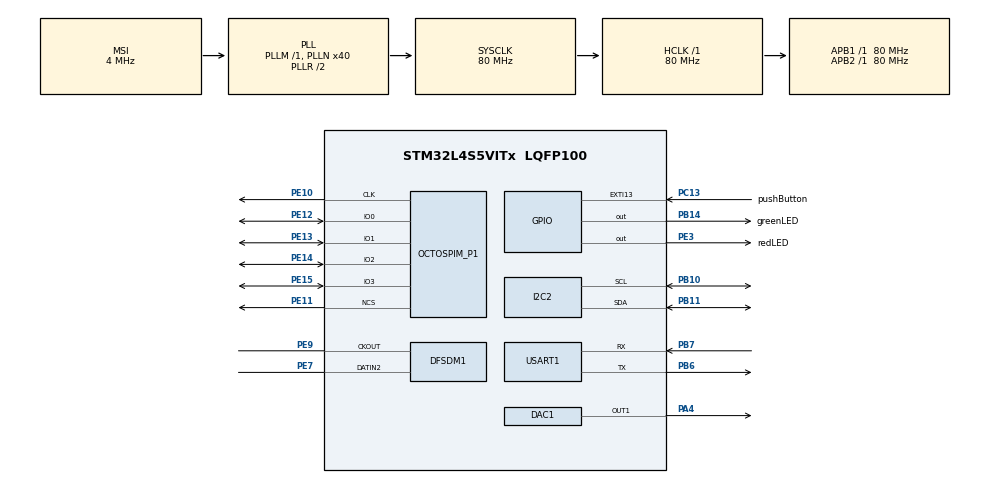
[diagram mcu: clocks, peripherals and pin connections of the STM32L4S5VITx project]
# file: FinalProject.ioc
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DAC1.DAC_Trigger-DAC_OUT1=DAC_TRIGGER_T2_TRGO
DFSDM1.Divider=34
DFSDM1.DmaMode_reg_FIL0=ENABLE
DFSDM1.FastMode_reg_FIL0=ENABLE
DFSDM1.Filter_regChannel_FIL0=DFSDM_CHANNEL_2
DFSDM1.Fosr_FIL0=118
DFSDM1.SincOrder_FIL0=DFSDM_FILTER_SINC3_ORDER
Dma.DAC1_CH1.0.Direction=DMA_MEMORY_TO_PERIPH
Dma.DAC1_CH1.0.EventEnable=DISABLE
Dma.DAC1_CH1.0.Instance=DMA1_Channel1
Dma.DAC1_CH1.0.MemDataAlignment=DMA_MDATAALIGN_WORD
Dma.DAC1_CH1.0.MemInc=DMA_MINC_ENABLE
Dma.DAC1_CH1.0.Mode=DMA_NORMAL
Dma.DAC1_CH1.0.PeriphDataAlignment=DMA_PDATAALIGN_WORD
Dma.DAC1_CH1.0.PeriphInc=DMA_PINC_DISABLE
Dma.DAC1_CH1.0.Polarity=HAL_DMAMUX_REQUEST_GEN_RISING
Dma.DAC1_CH1.0.Priority=DMA_PRIORITY_LOW
Dma.DAC1_CH1.0.RequestNumber=1
Dma.DAC1_CH1.0.SignalID=NONE
Dma.DAC1_CH1.0.SyncEnable=DISABLE
Dma.DAC1_CH1.0.SyncPolarity=HAL_DMAMUX_SYNC_NO_EVENT
Dma.DAC1_CH1.0.SyncRequestNumber=1
Dma.DAC1_CH1.0.SyncSignalID=NONE
Dma.DFSDM1_FLT0.1.Direction=DMA_PERIPH_TO_MEMORY
Dma.DFSDM1_FLT0.1.EventEnable=DISABLE
Dma.DFSDM1_FLT0.1.Instance=DMA1_Channel2
Dma.DFSDM1_FLT0.1.MemDataAlignment=DMA_MDATAALIGN_WORD
Dma.DFSDM1_FLT0.1.MemInc=DMA_MINC_ENABLE
Dma.DFSDM1_FLT0.1.Mode=DMA_NORMAL
Dma.DFSDM1_FLT0.1.PeriphDataAlignment=DMA_PDATAALIGN_WORD
Dma.DFSDM1_FLT0.1.PeriphInc=DMA_PINC_DISABLE
Dma.DFSDM1_FLT0.1.Polarity=HAL_DMAMUX_REQUEST_GEN_RISING
Dma.DFSDM1_FLT0.1.Priority=DMA_PRIORITY_LOW
Dma.DFSDM1_FLT0.1.RequestNumber=1
Dma.DFSDM1_FLT0.1.SignalID=NONE
Dma.DFSDM1_FLT0.1.SyncEnable=DISABLE
Dma.DFSDM1_FLT0.1.SyncPolarity=HAL_DMAMUX_SYNC_NO_EVENT
Dma.DFSDM1_FLT0.1.SyncRequestNumber=1
Dma.DFSDM1_FLT0.1.SyncSignalID=NONE
Dma.Request0=DAC1_CH1
Dma.Request1=DFSDM1_FLT0
FREERTOS.Tasks01=GetSpeedAndDir,0,128,StartGetSpeedAndDir,Default,NULL,Dynamic,NULL,NULL;AcceleroSensor,-3,128,StartAcceleroSensor,Default,NULL,Dynamic,NULL,NULL;CounterDirGame,-3,128,StartCounterDirGame,Default,NULL,Dynamic,NULL,NULL
I2C2.Timing=0x10909CEC
Mcu.Family=STM32L4
Mcu.Name=STM32L4S5VITx
Mcu.Package=LQFP100
NVIC.DMA1_Channel1_IRQn=true\:5\:0\:false\:false\:true\:true\:false\:true\:true
NVIC.DMA1_Channel2_IRQn=true\:5\:0\:false\:false\:true\:true\:false\:true\:true
NVIC.EXTI15_10_IRQn=true\:5\:0\:false\:false\:true\:true\:true\:true\:true
NVIC.PriorityGroup=NVIC_PRIORITYGROUP_4
NVIC.TIM2_IRQn=true\:5\:0\:false\:false\:true\:true\:true\:true\:true
NVIC.USART1_IRQn=true\:5\:0\:false\:false\:true\:true\:true\:true\:true
OCTOSPI1.MemoryType=HAL_OSPI_MEMTYPE_MACRONIX
PA13\ (JTMS/SWDIO).Signal=SYS_JTMS-SWDIO
PA4.Signal=COMP_DAC11_group
PB10.Mode=I2C
PB10.Signal=I2C2_SCL
PB11.Mode=I2C
PB11.Signal=I2C2_SDA
PB14.GPIO_Label=greenLED
PB14.Signal=GPIO_Output
PB3\ (JTDO/TRACESWO).Signal=SYS_JTDO-SWO
PB6.Mode=Asynchronous
PB6.Signal=USART1_TX
PB7.Mode=Asynchronous
PB7.Signal=USART1_RX
PC13.GPIO_Label=pushButton
PC13.Signal=GPXTI13
PE10.Mode=O1_P1_CLK
PE10.Signal=OCTOSPIM_P1_CLK
PE11.Mode=OCTOSPI1_Port1_NCS
PE11.Signal=OCTOSPIM_P1_NCS
PE12.Mode=OCTOSPI1_IOL_Port1L
PE12.Signal=OCTOSPIM_P1_IO0
PE13.Mode=OCTOSPI1_IOL_Port1L
PE13.Signal=OCTOSPIM_P1_IO1
PE14.Mode=OCTOSPI1_IOL_Port1L
PE14.Signal=OCTOSPIM_P1_IO2
PE15.Mode=OCTOSPI1_IOL_Port1L
PE15.Signal=OCTOSPIM_P1_IO3
PE3.GPIO_Label=redLED
PE3.Signal=GPIO_Output
PE7.Signal=S_DATAIN2DFSDM1
PE9.Signal=S_CKOUTDFSDM1
ProjectManager.HeapSize=0x200
ProjectManager.StackSize=0x400
ProjectManager.TargetToolchain=STM32CubeIDE
RCC.ADCFreq_Value=48000000
RCC.AHBFreq_Value=80000000
RCC.APB1Freq_Value=80000000
RCC.APB1TimFreq_Value=80000000
RCC.APB2Freq_Value=80000000
RCC.APB2TimFreq_Value=80000000
RCC.CortexFreq_Value=80000000
RCC.HCLKFreq_Value=80000000
RCC.HSE_VALUE=8000000
RCC.HSI48_VALUE=48000000
RCC.HSI_VALUE=16000000
RCC.LSE_VALUE=32768
RCC.MSI_VALUE=4000000
RCC.PLLN=40
RCC.PLLSAI1N=24
RCC.SYSCLKFreq_VALUE=80000000
RCC.SYSCLKSource=RCC_SYSCLKSOURCE_PLLCLK
RCC.USBFreq_Value=48000000
RCC.VCOOutputFreq_Value=160000000
SH.COMP_DAC11_group.0=DAC1_OUT1,DAC_OUT1
SH.S_CKOUTDFSDM1.0=DFSDM1_CKOUT,PDM_SPI_input_from_ch2_and_internal_clock
SH.S_CKOUTDFSDM1.1=DFSDM1_CKOUT,CKOUT
SH.S_DATAIN2DFSDM1.0=DFSDM1_DATIN2,PDM_SPI_input_from_ch2_and_internal_clock
TIM2.AutoReloadPreload=TIM_AUTORELOAD_PRELOAD_ENABLE
TIM2.Period=4000
TIM2.Prescaler=0
TIM2.TIM_MasterOutputTrigger=TIM_TRGO_UPDATE
USART1.VirtualMode-Asynchronous=VM_ASYNC
VP_FREERTOS_VS_CMSIS_V1.Mode=CMSIS_V1
VP_OCTOSPI1_VS_quad.Mode=quad_mode
VP_TIM2_VS_ClockSourceINT.Mode=Internal
board=B-L4S5I-IOT01A

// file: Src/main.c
/* USER CODE BEGIN Header */
/**
  ******************************************************************************
  * @file           : main.c
  * @brief          : Main program body
  ******************************************************************************
  * @attention
  *
  * Copyright (c) 2022 STMicroelectronics.
  * All rights reserved.
  *
  * This software is licensed under terms that can be found in the LICENSE file
  * in the root directory of this software component.
  * If no LICENSE file comes with this software, it is provided AS-IS.
  *
  ******************************************************************************
  */
/* USER CODE END Header */
#include "main.h"
#include "cmsis_os.h"

/* USER CODE BEGIN Includes */
#include "stm32l4s5i_iot01_qspi.h"
#include "stm32l4s5i_iot01_accelero.h"
#include "arm_math.h" //complex header file that works differently for different Cortex processor
#include <stdio.h>
#include <string.h>
/* USER CODE END Includes */

DAC_HandleTypeDef hdac1;
DMA_HandleTypeDef hdma_dac1_ch1;

DFSDM_Filter_HandleTypeDef hdfsdm1_filter0;
DFSDM_Channel_HandleTypeDef hdfsdm1_channel2;
DMA_HandleTypeDef hdma_dfsdm1_flt0;

I2C_HandleTypeDef hi2c2;

OSPI_HandleTypeDef hospi1;

TIM_HandleTypeDef htim2;

UART_HandleTypeDef huart1;

osThreadId GetSpeedAndDirHandle;
osThreadId AcceleroSensorHandle;
osThreadId CounterDirGameHandle;
/* USER CODE BEGIN PV */
// Sampling rate = 20 kHz, duration = 2s, -> 40 000 samples per audio
// We have 10 audios, int = 4 bytes ->
#define SEQUENCE_LENGTH 40000
#define NUMBER_OF_DIRECTION 4
#define NUMBER_OF_DIGITS 5
#define CHOICE 2
#define MOVEMENT_THRESHOLD 80
#define ITM_Port32(n) (*((volatile unsigned long *) (0xE0000000+4*n)))

int32_t SEQUENCE[SEQUENCE_LENGTH];
int32_t SEQUENCE_COPY[SEQUENCE_LENGTH];
int32_t addressDigits[10] = {0x000000, 0x030000, 0x060000, 0x090000, 0x0C0000, 0x0F0000, 0x120000, 0x150000, 0x180000, 0x1B0000};

// CAREFUL: Record in following order horizontal slow, horizontal fast, vertical slow, vertical fast
int32_t addressDirections[4] = {0x1E0000, 0x210000, 0x240000, 0x270000};
uint32_t pushButtonCounter = 0;

//Selecting Game Modes
uint8_t recorder;
uint8_t player;
uint8_t directionGame;
uint8_t digitGame;
uint8_t actualRecorder =0;

uint32_t addr;
uint8_t seqDigits[NUMBER_OF_DIGITS] = {4,1,4,7,9};
uint8_t seqDirections[NUMBER_OF_DIRECTION] = {'X', 'Y', 'y', 'x'};
uint32_t pressed = 0;
uint8_t addressDigitIndex = 0;
uint8_t addressDirectionIndex = 0;
// LEONIDAS VARIABLES
//DIGITS
uint8_t res;
uint8_t *seq;
uint8_t digits[] = "41479";
uint8_t digit_answer[NUMBER_OF_DIGITS +1];

//DIRECTIONS
uint8_t direction_answer[6];
//uint8_t seqDirections[]= "XxYy";

//UART
uint8_t start_yn[2];//player 1 or 2 answer
uint8_t recorded_digits[6];//user types the desired numbers here
uint8_t game_mode[2];//game mode 1 or 0 answer
uint8_t recorder_game_mode[2];//game mode 1 or 0 answer

uint8_t digit_reply[6];
uint8_t digit_ready[2];
uint8_t int_converter[6];

uint8_t direction_reply[6];
uint8_t digit_ready[2];

uint8_t user_Digit_answer[6];
uint8_t user_Direction_answer[6];

// Accelerometer
int16_t accelerometer[3];
int16_t acc_x1; //initial acc. x value
int16_t acc_y1;
float32_t maxX2;
float32_t maxY2;
float32_t  arrayX[2000];
float32_t arrayY[2000];
int16_t arrayIndex = 0;
uint32_t maxIndexX;
uint32_t maxIndexY;

char directionResult[NUMBER_OF_DIRECTION];
uint32_t counterRestart;
int8_t resultIndex = 0;
int8_t counterInitial = 0;
int8_t startedMoving = 0;

///MESSAGES
uint8_t startMessage[] = "Let's Test Your Memory! \r\n"
					   "Have you played before?\r\n"
					   "1: Yes \r\n"
					   "0: No \r\n";

uint8_t playerMessage[] = "Then, proceed to choose the game mode! \r\n";

uint8_t chooseModeMessage[] = "Choose The Game Mode: \r\n"
							"0: Memory Digits \r\n"
							"1: Memory Directions \r\n";

uint8_t waitForSpeakerDigitMessage[] = "Starting Memory Digits..\r\nPlaying numbers..wait until completion!\r\n";
uint8_t waitForSpeakerDirectionMessage[] = "Starting Memory Directions..\r\nPlaying seqDirections..wait until completion!\r\n";

uint8_t winMessage[] = "You got it right! \r\n";

uint8_t lossMessage[] = "You got it wrong! \r\n"
		               "Game over!\r\n"
					   "The answer was:\r\n";

uint8_t startTypingMessage[] = "Enter what you remember: \r\n";

uint8_t startPlayer2Message[] = "Player 2 \r\n";

uint8_t recorderMessage[] = "Begin typing the 5 digits you want player 2 to memorize \r\n";
uint8_t direcRecorderMessage[] = "Begin typing the 4 coordinates you want player 2 to memorize \r\n";

uint8_t clearCommand[] =  "\033[1J";

uint8_t here[] =  "HERE_____\r\n";
//END MESSAGES
/* USER CODE END PV */

void SystemClock_Config(void);
static void MX_GPIO_Init(void);
static void MX_DMA_Init(void);
static void MX_DAC1_Init(void);
static void MX_TIM2_Init(void);
static void MX_DFSDM1_Init(void);
static void MX_OCTOSPI1_Init(void);
static void MX_I2C2_Init(void);
static void MX_USART1_UART_Init(void);
void StartGetSpeedAndDir(void const * argument);
void StartAcceleroSensor(void const * argument);
void StartCounterDirGame(void const * argument);

/* USER CODE BEGIN 0 */
void get_ACC_XY_InitialPosition();
/* USER CODE END 0 */

int main(void)
{

  /* MCU Configuration--------------------------------------------------------*/

  /* Reset of all peripherals, Initializes the Flash interface and the Systick. */
  HAL_Init();

  /* Configure the system clock */
  SystemClock_Config();

  /* Initialize all configured peripherals */
  MX_GPIO_Init();
  MX_DMA_Init();
  MX_DAC1_Init();
  MX_TIM2_Init();
  MX_DFSDM1_Init();
  MX_OCTOSPI1_Init();
  MX_I2C2_Init();
  MX_USART1_UART_Init();
  /* USER CODE BEGIN 2 */
  BSP_ACCELERO_Init();
  BSP_QSPI_Init();
  HAL_TIM_Base_Start_IT(&htim2);

  HAL_UART_Transmit(&huart1, clearCommand, sizeof(clearCommand), 100);//clear console

  HAL_UART_Transmit(&huart1, startMessage, sizeof(startMessage), 100);// sent start message

  HAL_UART_Receive_IT(&huart1, start_yn, CHOICE);// get user 1 or 0

  if(actualRecorder && digitGame) { // 3 blocks per sound (digits OR seqDirections/speed)
	  //10 digits * 3 = 30 blocks to erase
	  //2 seqDirections (vertical/horizontal) + 2 speeds (fast/slow) = 4 *3 = 12
	  addr = 0x000000;
	  for(int i = 1; i <= 30; i++) {
		  if(BSP_QSPI_Erase_Block((uint32_t) addr) != QSPI_OK)
		  	Error_Handler();
		  addr+= 0x010000;
	  }
  } else if( actualRecorder && directionGame) {
	  addr = 0x1E0000;
	  for(int i = 1; i <= 12; i++) {
		  if(BSP_QSPI_Erase_Block((uint32_t) addr) != QSPI_OK)
		  	Error_Handler();
		  addr += 0x010000;
	  }
  }

  /* USER CODE END 2 */

  /* Create the thread(s) */
  /* definition and creation of GetSpeedAndDir */
  osThreadDef(GetSpeedAndDir, StartGetSpeedAndDir, osPriorityNormal, 0, 128);
  GetSpeedAndDirHandle = osThreadCreate(osThread(GetSpeedAndDir), NULL);

  /* definition and creation of AcceleroSensor */
  osThreadDef(AcceleroSensor, StartAcceleroSensor, osPriorityIdle, 0, 128);
  AcceleroSensorHandle = osThreadCreate(osThread(AcceleroSensor), NULL);

  /* definition and creation of CounterDirGame */
  osThreadDef(CounterDirGame, StartCounterDirGame, osPriorityIdle, 0, 128);
  CounterDirGameHandle = osThreadCreate(osThread(CounterDirGame), NULL);

  /* Start scheduler */
  osKernelStart();

  /* We should never get here as control is now taken by the scheduler */
  /* Infinite loop */
  while (1)
  {

  }
}

void SystemClock_Config(void)
{
  RCC_OscInitTypeDef RCC_OscInitStruct = {0};
  RCC_ClkInitTypeDef RCC_ClkInitStruct = {0};

  /** Configure the main internal regulator output voltage
  */
  if (HAL_PWREx_ControlVoltageScaling(PWR_REGULATOR_VOLTAGE_SCALE1) != HAL_OK)
  {
    Error_Handler();
  }

  /** Initializes the RCC Oscillators according to the specified parameters
  * in the RCC_OscInitTypeDef structure.
  */
  RCC_OscInitStruct.OscillatorType = RCC_OSCILLATORTYPE_MSI;
  RCC_OscInitStruct.MSIState = RCC_MSI_ON;
  RCC_OscInitStruct.MSICalibrationValue = 0;
  RCC_OscInitStruct.MSIClockRange = RCC_MSIRANGE_6;
  RCC_OscInitStruct.PLL.PLLState = RCC_PLL_ON;
  RCC_OscInitStruct.PLL.PLLSource = RCC_PLLSOURCE_MSI;
  RCC_OscInitStruct.PLL.PLLM = 1;
  RCC_OscInitStruct.PLL.PLLN = 40;
  RCC_OscInitStruct.PLL.PLLP = RCC_PLLP_DIV2;
  RCC_OscInitStruct.PLL.PLLQ = RCC_PLLQ_DIV2;
  RCC_OscInitStruct.PLL.PLLR = RCC_PLLR_DIV2;
  if (HAL_RCC_OscConfig(&RCC_OscInitStruct) != HAL_OK)
  {
    Error_Handler();
  }

  /** Initializes the CPU, AHB and APB buses clocks
  */
  RCC_ClkInitStruct.ClockType = RCC_CLOCKTYPE_HCLK|RCC_CLOCKTYPE_SYSCLK
                              |RCC_CLOCKTYPE_PCLK1|RCC_CLOCKTYPE_PCLK2;
  RCC_ClkInitStruct.SYSCLKSource = RCC_SYSCLKSOURCE_PLLCLK;
  RCC_ClkInitStruct.AHBCLKDivider = RCC_SYSCLK_DIV1;
  RCC_ClkInitStruct.APB1CLKDivider = RCC_HCLK_DIV1;
  RCC_ClkInitStruct.APB2CLKDivider = RCC_HCLK_DIV1;

  if (HAL_RCC_ClockConfig(&RCC_ClkInitStruct, FLASH_LATENCY_3) != HAL_OK)
  {
    Error_Handler();
  }
}

static void MX_DAC1_Init(void)
{

  DAC_ChannelConfTypeDef sConfig = {0};

  /** DAC Initialization
  */
  hdac1.Instance = DAC1;
  if (HAL_DAC_Init(&hdac1) != HAL_OK)
  {
    Error_Handler();
  }

  /** DAC channel OUT1 config
  */
  sConfig.DAC_SampleAndHold = DAC_SAMPLEANDHOLD_DISABLE;
  sConfig.DAC_Trigger = DAC_TRIGGER_T2_TRGO;
  sConfig.DAC_HighFrequency = DAC_HIGH_FREQUENCY_INTERFACE_MODE_ABOVE_80MHZ;
  sConfig.DAC_OutputBuffer = DAC_OUTPUTBUFFER_ENABLE;
  sConfig.DAC_ConnectOnChipPeripheral = DAC_CHIPCONNECT_DISABLE;
  sConfig.DAC_UserTrimming = DAC_TRIMMING_FACTORY;
  if (HAL_DAC_ConfigChannel(&hdac1, &sConfig, DAC_CHANNEL_1) != HAL_OK)
  {
    Error_Handler();
  }

}

static void MX_DFSDM1_Init(void)
{

  hdfsdm1_filter0.Instance = DFSDM1_Filter0;
  hdfsdm1_filter0.Init.RegularParam.Trigger = DFSDM_FILTER_SW_TRIGGER;
  hdfsdm1_filter0.Init.RegularParam.FastMode = ENABLE;
  hdfsdm1_filter0.Init.RegularParam.DmaMode = ENABLE;
  hdfsdm1_filter0.Init.FilterParam.SincOrder = DFSDM_FILTER_SINC3_ORDER;
  hdfsdm1_filter0.Init.FilterParam.Oversampling = 118;
  hdfsdm1_filter0.Init.FilterParam.IntOversampling = 1;
  if (HAL_DFSDM_FilterInit(&hdfsdm1_filter0) != HAL_OK)
  {
    Error_Handler();
  }
  hdfsdm1_channel2.Instance = DFSDM1_Channel2;
  hdfsdm1_channel2.Init.OutputClock.Activation = ENABLE;
  hdfsdm1_channel2.Init.OutputClock.Selection = DFSDM_CHANNEL_OUTPUT_CLOCK_SYSTEM;
  hdfsdm1_channel2.Init.OutputClock.Divider = 34;
  hdfsdm1_channel2.Init.Input.Multiplexer = DFSDM_CHANNEL_EXTERNAL_INPUTS;
  hdfsdm1_channel2.Init.Input.DataPacking = DFSDM_CHANNEL_STANDARD_MODE;
  hdfsdm1_channel2.Init.Input.Pins = DFSDM_CHANNEL_SAME_CHANNEL_PINS;
  hdfsdm1_channel2.Init.SerialInterface.Type = DFSDM_CHANNEL_SPI_RISING;
  hdfsdm1_channel2.Init.SerialInterface.SpiClock = DFSDM_CHANNEL_SPI_CLOCK_INTERNAL;
  hdfsdm1_channel2.Init.Awd.FilterOrder = DFSDM_CHANNEL_FASTSINC_ORDER;
  hdfsdm1_channel2.Init.Awd.Oversampling = 1;
  hdfsdm1_channel2.Init.Offset = 0;
  hdfsdm1_channel2.Init.RightBitShift = 0x00;
  if (HAL_DFSDM_ChannelInit(&hdfsdm1_channel2) != HAL_OK)
  {
    Error_Handler();
  }
  if (HAL_DFSDM_FilterConfigRegChannel(&hdfsdm1_filter0, DFSDM_CHANNEL_2, DFSDM_CONTINUOUS_CONV_ON) != HAL_OK)
  {
    Error_Handler();
  }

}

static void MX_I2C2_Init(void)
{

  hi2c2.Instance = I2C2;
  hi2c2.Init.Timing = 0x10909CEC;
  hi2c2.Init.OwnAddress1 = 0;
  hi2c2.Init.AddressingMode = I2C_ADDRESSINGMODE_7BIT;
  hi2c2.Init.DualAddressMode = I2C_DUALADDRESS_DISABLE;
  hi2c2.Init.OwnAddress2 = 0;
  hi2c2.Init.OwnAddress2Masks = I2C_OA2_NOMASK;
  hi2c2.Init.GeneralCallMode = I2C_GENERALCALL_DISABLE;
  hi2c2.Init.NoStretchMode = I2C_NOSTRETCH_DISABLE;
  if (HAL_I2C_Init(&hi2c2) != HAL_OK)
  {
    Error_Handler();
  }

  /** Configure Analogue filter
  */
  if (HAL_I2CEx_ConfigAnalogFilter(&hi2c2, I2C_ANALOGFILTER_ENABLE) != HAL_OK)
  {
    Error_Handler();
  }

  /** Configure Digital filter
  */
  if (HAL_I2CEx_ConfigDigitalFilter(&hi2c2, 0) != HAL_OK)
  {
    Error_Handler();
  }

}

static void MX_OCTOSPI1_Init(void)
{

  OSPIM_CfgTypeDef OSPIM_Cfg_Struct = {0};

  /* OCTOSPI1 parameter configuration*/
  hospi1.Instance = OCTOSPI1;
  hospi1.Init.FifoThreshold = 1;
  hospi1.Init.DualQuad = HAL_OSPI_DUALQUAD_DISABLE;
  hospi1.Init.MemoryType = HAL_OSPI_MEMTYPE_MACRONIX;
  hospi1.Init.DeviceSize = 32;
  hospi1.Init.ChipSelectHighTime = 1;
  hospi1.Init.FreeRunningClock = HAL_OSPI_FREERUNCLK_DISABLE;
  hospi1.Init.ClockMode = HAL_OSPI_CLOCK_MODE_0;
  hospi1.Init.ClockPrescaler = 1;
  hospi1.Init.SampleShifting = HAL_OSPI_SAMPLE_SHIFTING_NONE;
  hospi1.Init.DelayHoldQuarterCycle = HAL_OSPI_DHQC_DISABLE;
  hospi1.Init.ChipSelectBoundary = 0;
  hospi1.Init.DelayBlockBypass = HAL_OSPI_DELAY_BLOCK_BYPASSED;
  if (HAL_OSPI_Init(&hospi1) != HAL_OK)
  {
    Error_Handler();
  }
  OSPIM_Cfg_Struct.ClkPort = 1;
  OSPIM_Cfg_Struct.NCSPort = 1;
  OSPIM_Cfg_Struct.IOLowPort = HAL_OSPIM_IOPORT_1_LOW;
  if (HAL_OSPIM_Config(&hospi1, &OSPIM_Cfg_Struct, HAL_OSPI_TIMEOUT_DEFAULT_VALUE) != HAL_OK)
  {
    Error_Handler();
  }

}

static void MX_TIM2_Init(void)
{

  TIM_ClockConfigTypeDef sClockSourceConfig = {0};
  TIM_MasterConfigTypeDef sMasterConfig = {0};

  htim2.Instance = TIM2;
  htim2.Init.Prescaler = 0;
  htim2.Init.CounterMode = TIM_COUNTERMODE_UP;
  htim2.Init.Period = 4000;
  htim2.Init.ClockDivision = TIM_CLOCKDIVISION_DIV1;
  htim2.Init.AutoReloadPreload = TIM_AUTORELOAD_PRELOAD_ENABLE;
  if (HAL_TIM_Base_Init(&htim2) != HAL_OK)
  {
    Error_Handler();
  }
  sClockSourceConfig.ClockSource = TIM_CLOCKSOURCE_INTERNAL;
  if (HAL_TIM_ConfigClockSource(&htim2, &sClockSourceConfig) != HAL_OK)
  {
    Error_Handler();
  }
  sMasterConfig.MasterOutputTrigger = TIM_TRGO_UPDATE;
  sMasterConfig.MasterSlaveMode = TIM_MASTERSLAVEMODE_DISABLE;
  if (HAL_TIMEx_MasterConfigSynchronization(&htim2, &sMasterConfig) != HAL_OK)
  {
    Error_Handler();
  }

}

static void MX_USART1_UART_Init(void)
{

  huart1.Instance = USART1;
  huart1.Init.BaudRate = 115200;
  huart1.Init.WordLength = UART_WORDLENGTH_8B;
  huart1.Init.StopBits = UART_STOPBITS_1;
  huart1.Init.Parity = UART_PARITY_NONE;
  huart1.Init.Mode = UART_MODE_TX_RX;
  huart1.Init.HwFlowCtl = UART_HWCONTROL_NONE;
  huart1.Init.OverSampling = UART_OVERSAMPLING_16;
  huart1.Init.OneBitSampling = UART_ONE_BIT_SAMPLE_DISABLE;
  huart1.Init.ClockPrescaler = UART_PRESCALER_DIV1;
  huart1.AdvancedInit.AdvFeatureInit = UART_ADVFEATURE_NO_INIT;
  if (HAL_UART_Init(&huart1) != HAL_OK)
  {
    Error_Handler();
  }
  if (HAL_UARTEx_SetTxFifoThreshold(&huart1, UART_TXFIFO_THRESHOLD_1_8) != HAL_OK)
  {
    Error_Handler();
  }
  if (HAL_UARTEx_SetRxFifoThreshold(&huart1, UART_RXFIFO_THRESHOLD_1_8) != HAL_OK)
  {
    Error_Handler();
  }
  if (HAL_UARTEx_DisableFifoMode(&huart1) != HAL_OK)
  {
    Error_Handler();
  }

}

static void MX_DMA_Init(void)
{

  /* DMA controller clock enable */
  __HAL_RCC_DMAMUX1_CLK_ENABLE();
  __HAL_RCC_DMA1_CLK_ENABLE();

  /* DMA interrupt init */
  /* DMA1_Channel1_IRQn interrupt configuration */
  HAL_NVIC_SetPriority(DMA1_Channel1_IRQn, 5, 0);
  HAL_NVIC_EnableIRQ(DMA1_Channel1_IRQn);
  /* DMA1_Channel2_IRQn interrupt configuration */
  HAL_NVIC_SetPriority(DMA1_Channel2_IRQn, 5, 0);
  HAL_NVIC_EnableIRQ(DMA1_Channel2_IRQn);

}

static void MX_GPIO_Init(void)
{
  GPIO_InitTypeDef GPIO_InitStruct = {0};

  /* GPIO Ports Clock Enable */
  __HAL_RCC_GPIOE_CLK_ENABLE();
  __HAL_RCC_GPIOC_CLK_ENABLE();
  __HAL_RCC_GPIOA_CLK_ENABLE();
  __HAL_RCC_GPIOB_CLK_ENABLE();

  /*Configure GPIO pin Output Level */
  HAL_GPIO_WritePin(redLED_GPIO_Port, redLED_Pin, GPIO_PIN_RESET);

  /*Configure GPIO pin Output Level */
  HAL_GPIO_WritePin(greenLED_GPIO_Port, greenLED_Pin, GPIO_PIN_RESET);

  /*Configure GPIO pin : redLED_Pin */
  GPIO_InitStruct.Pin = redLED_Pin;
  GPIO_InitStruct.Mode = GPIO_MODE_OUTPUT_PP;
  GPIO_InitStruct.Pull = GPIO_NOPULL;
  GPIO_InitStruct.Speed = GPIO_SPEED_FREQ_LOW;
  HAL_GPIO_Init(redLED_GPIO_Port, &GPIO_InitStruct);

  /*Configure GPIO pin : pushButton_Pin */
  GPIO_InitStruct.Pin = pushButton_Pin;
  GPIO_InitStruct.Mode = GPIO_MODE_IT_RISING;
  GPIO_InitStruct.Pull = GPIO_NOPULL;
  HAL_GPIO_Init(pushButton_GPIO_Port, &GPIO_InitStruct);

  /*Configure GPIO pin : greenLED_Pin */
  GPIO_InitStruct.Pin = greenLED_Pin;
  GPIO_InitStruct.Mode = GPIO_MODE_OUTPUT_PP;
  GPIO_InitStruct.Pull = GPIO_NOPULL;
  GPIO_InitStruct.Speed = GPIO_SPEED_FREQ_LOW;
  HAL_GPIO_Init(greenLED_GPIO_Port, &GPIO_InitStruct);

  /* EXTI interrupt init*/
  HAL_NVIC_SetPriority(EXTI15_10_IRQn, 5, 0);
  HAL_NVIC_EnableIRQ(EXTI15_10_IRQn);

}

/* USER CODE BEGIN 4 */

void HAL_GPIO_EXTI_Callback(uint16_t GPIO_Pin) {
	if(GPIO_Pin == pushButton_Pin) {
		HAL_DAC_Stop_DMA(&hdac1, DAC_CHANNEL_1);
		HAL_GPIO_TogglePin(greenLED_GPIO_Port, greenLED_Pin);

		if(actualRecorder)
			HAL_DFSDM_FilterRegularStart_DMA(&hdfsdm1_filter0, SEQUENCE, SEQUENCE_LENGTH);
	}
}

void HAL_DAC_ConvCpltCallbackCh1(DAC_HandleTypeDef *hdac) {
	if(player && digitGame) {
		HAL_Delay(10000);
		addressDigitIndex = addressDigitIndex + 1;
		if(BSP_QSPI_Read((uint8_t *) SEQUENCE_COPY, (uint32_t)  addressDigits[seqDigits[addressDigitIndex]], sizeof(SEQUENCE)) != QSPI_OK)
			Error_Handler();
		HAL_DAC_Start_DMA(&hdac1, DAC_CHANNEL_1, (uint32_t*) SEQUENCE_COPY, SEQUENCE_LENGTH, DAC_ALIGN_12B_R);

		if (addressDigitIndex == NUMBER_OF_DIGITS) {
			HAL_DAC_Stop_DMA(&hdac1, DAC_CHANNEL_1);
			HAL_UART_Transmit(&huart1, startTypingMessage, sizeof(startTypingMessage), 100);
		}
	} else if (player && directionGame) {
		addressDirectionIndex = addressDirectionIndex + 1;
		if(seqDirections[addressDirectionIndex] == 'X') {
			if(BSP_QSPI_Read((uint8_t *) SEQUENCE_COPY, (uint32_t)  addressDirections[1], sizeof(SEQUENCE)) != QSPI_OK)
				Error_Handler();
			HAL_DAC_Start_DMA(&hdac1, DAC_CHANNEL_1, (uint32_t*) SEQUENCE_COPY, SEQUENCE_LENGTH, DAC_ALIGN_12B_R);
		}else if(seqDirections[addressDirectionIndex] == 'Y') {
			if(BSP_QSPI_Read((uint8_t *) SEQUENCE_COPY, (uint32_t)  addressDirections[3], sizeof(SEQUENCE)) != QSPI_OK)
				Error_Handler();
			HAL_DAC_Start_DMA(&hdac1, DAC_CHANNEL_1, (uint32_t*) SEQUENCE_COPY, SEQUENCE_LENGTH, DAC_ALIGN_12B_R);
		}else if(seqDirections[addressDirectionIndex] == 'x') {
			if(BSP_QSPI_Read((uint8_t *) SEQUENCE_COPY, (uint32_t)  addressDirections[0], sizeof(SEQUENCE)) != QSPI_OK)
				Error_Handler();
			HAL_DAC_Start_DMA(&hdac1, DAC_CHANNEL_1, (uint32_t*) SEQUENCE_COPY, SEQUENCE_LENGTH, DAC_ALIGN_12B_R);
		}else if(seqDirections[addressDirectionIndex] == 'y') {
			if(BSP_QSPI_Read((uint8_t *) SEQUENCE_COPY, (uint32_t)  addressDirections[2], sizeof(SEQUENCE)) != QSPI_OK)
				Error_Handler();
			HAL_DAC_Start_DMA(&hdac1, DAC_CHANNEL_1, (uint32_t*) SEQUENCE_COPY, SEQUENCE_LENGTH, DAC_ALIGN_12B_R);
		}
		if (addressDirectionIndex == NUMBER_OF_DIRECTION) {
			HAL_DAC_Stop_DMA(&hdac1, DAC_CHANNEL_1);
			HAL_UART_Transmit(&huart1, startTypingMessage, sizeof(startTypingMessage), 100);
		}
	}
}

void HAL_DFSDM_FilterRegConvCpltCallback(DFSDM_Filter_HandleTypeDef *hdfsdm_filter ) {

	if(actualRecorder && digitGame) {
	HAL_DFSDM_FilterRegularStop_DMA(&hdfsdm1_filter0);
		for(uint32_t i = 0 ; i < SEQUENCE_LENGTH; i++ ){
			SEQUENCE[i] = SEQUENCE[i] >> 8; // 24 bit signed  :  −8,388,608 : 8,388,607
			if(SEQUENCE[i] < 0 ) {
				SEQUENCE[i]= SEQUENCE[i]+ (1<<24);
			}
			if( SEQUENCE[i] >= 4096) {
				SEQUENCE[i] = SEQUENCE[i] >> 12;
			}
		}
		if(BSP_QSPI_Write((uint8_t *) SEQUENCE, (uint32_t) addressDigits[pushButtonCounter], sizeof(SEQUENCE)) != QSPI_OK){
			Error_Handler();
		}
		if(BSP_QSPI_Read((uint8_t *) SEQUENCE_COPY, (uint32_t) addressDigits[pushButtonCounter], sizeof(SEQUENCE)) != QSPI_OK){
			Error_Handler();
		}
		HAL_DAC_Start_DMA(&hdac1, DAC_CHANNEL_1, (uint32_t*) SEQUENCE_COPY, SEQUENCE_LENGTH, DAC_ALIGN_12B_R);
		pushButtonCounter = (pushButtonCounter + 1) % 10;
	}

	if(actualRecorder && directionGame) {
	HAL_DFSDM_FilterRegularStop_DMA(&hdfsdm1_filter0);
		for(uint32_t i = 0 ; i < SEQUENCE_LENGTH; i++ ){
			SEQUENCE[i] = SEQUENCE[i] >> 8; // 24 bit signed  :  −8,388,608 : 8,388,607
			if(SEQUENCE[i] < 0 ) {
				SEQUENCE[i]= SEQUENCE[i]+ (1<<24);
			}
			if( SEQUENCE[i] >= 4096) {
				SEQUENCE[i] = SEQUENCE[i] >> 12;
			}
			if(SEQUENCE[i] <=  4000) {
				SEQUENCE[i] = 0;
			}
		}
		if(BSP_QSPI_Write((uint8_t *) SEQUENCE, (uint32_t) addressDirections[pushButtonCounter], sizeof(SEQUENCE)) != QSPI_OK){
			Error_Handler();
		}
		if(BSP_QSPI_Read((uint8_t *) SEQUENCE_COPY, (uint32_t) addressDirections[pushButtonCounter], sizeof(SEQUENCE)) != QSPI_OK){
			Error_Handler();
		}
		HAL_DAC_Start_DMA(&hdac1, DAC_CHANNEL_1, (uint32_t*) SEQUENCE_COPY, SEQUENCE_LENGTH, DAC_ALIGN_12B_R);
		pushButtonCounter = (pushButtonCounter + 1) % 4;
	}

}

//get the data byte by byte
void HAL_UART_RxCpltCallback(UART_HandleTypeDef *huart)
{

  if (start_yn[0] == '0'){
	  //you are a recorder (player 1)
	  recorder = 1;
	  player = 0;
	  memset(start_yn,0,CHOICE);
	  // send player message
	  HAL_UART_Transmit(&huart1, chooseModeMessage, sizeof(chooseModeMessage), 100);
	  //game mode 0 or 1
	  HAL_UART_Receive_IT(&huart1, recorder_game_mode, CHOICE);
  }

  if (recorder_game_mode[0] == '1'){
	  directionGame = 1;
	  digitGame = 0;
	  HAL_UART_Transmit(&huart1, direcRecorderMessage, sizeof(direcRecorderMessage), 100);
	  //receive the answer in direction_reply
	  HAL_UART_Receive_IT(&huart1, direction_reply, NUMBER_OF_DIRECTION+1);

  }

  if (direction_reply[0] != '\000'){

	  HAL_UART_Transmit(&huart1, clearCommand, sizeof(clearCommand), 100);

	  HAL_UART_Transmit(&huart1, startPlayer2Message, sizeof(startPlayer2Message), 100);

	  for (int i=0 ; i<NUMBER_OF_DIRECTION; i++) {
		  seqDirections[i] = direction_reply[i];
	  }

	  player = 1;
	  direction_reply[0] = '\000';

	  HAL_UART_Transmit(&huart1, waitForSpeakerDirectionMessage, sizeof(waitForSpeakerDirectionMessage), 100);

	  //send to HAL_DAC...once cmplt user should move the board

	  if(seqDirections[addressDirectionIndex] == 'X') {
	  		if(BSP_QSPI_Read((uint8_t *) SEQUENCE_COPY, (uint32_t)  addressDirections[1], sizeof(SEQUENCE)) != QSPI_OK)
	  			Error_Handler();
	  		HAL_DAC_Start_DMA(&hdac1, DAC_CHANNEL_1, (uint32_t*) SEQUENCE_COPY, SEQUENCE_LENGTH, DAC_ALIGN_12B_R);
	  }else if(seqDirections[addressDirectionIndex] == 'Y') {
	  		if(BSP_QSPI_Read((uint8_t *) SEQUENCE_COPY, (uint32_t)  addressDirections[3], sizeof(SEQUENCE)) != QSPI_OK)
	  			Error_Handler();
	  		HAL_DAC_Start_DMA(&hdac1, DAC_CHANNEL_1, (uint32_t*) SEQUENCE_COPY, SEQUENCE_LENGTH, DAC_ALIGN_12B_R);
	  }else if(seqDirections[addressDirectionIndex] == 'x') {
	  		if(BSP_QSPI_Read((uint8_t *) SEQUENCE_COPY, (uint32_t)  addressDirections[0], sizeof(SEQUENCE)) != QSPI_OK)
	  			Error_Handler();
	  		HAL_DAC_Start_DMA(&hdac1, DAC_CHANNEL_1, (uint32_t*) SEQUENCE_COPY, SEQUENCE_LENGTH, DAC_ALIGN_12B_R);
	  }else if(seqDirections[addressDirectionIndex] == 'y') {
	  		if(BSP_QSPI_Read((uint8_t *) SEQUENCE_COPY, (uint32_t)  addressDirections[2], sizeof(SEQUENCE)) != QSPI_OK)
	  			Error_Handler();
	  		HAL_DAC_Start_DMA(&hdac1, DAC_CHANNEL_1, (uint32_t*) SEQUENCE_COPY, SEQUENCE_LENGTH, DAC_ALIGN_12B_R);
	  }
  }

  /////////////// Recorder Digits ////////////////////////
  if (recorder_game_mode[0] == '0'){
	  memset(recorder_game_mode,0,2);
	  directionGame = 0;
	  digitGame = 1;
	  HAL_UART_Transmit(&huart1, recorderMessage, sizeof(recorderMessage), 100);
	  //receive the answer in digit_reply
	  HAL_UART_Receive_IT(&huart1, digit_reply, NUMBER_OF_DIGITS+1);
  }

  if (digit_reply[0] != '\000'){

	  HAL_UART_Transmit(&huart1, clearCommand, sizeof(clearCommand), 100);

	  HAL_UART_Transmit(&huart1, startPlayer2Message, sizeof(startPlayer2Message), 100);

	  for (int i = 0; i < (sizeof(digit_reply))/(sizeof(digit_reply[0])); i++){
		  int_converter[i] = digit_reply[i] - '0';
   	  }

	  for (int i=0 ; i<NUMBER_OF_DIGITS; i++) {
	 		  seqDigits[i] = int_converter[i];
	  }
	  strcpy(digit_answer,  digit_reply);

	  player = 1;
	  digit_reply[0] = '\000';

	  HAL_UART_Transmit(&huart1, waitForSpeakerDigitMessage, sizeof(waitForSpeakerDigitMessage), 100);

	  //send to HAL_DAC...once cmplt should ask user to start typing
	  if(BSP_QSPI_Read((uint8_t *) SEQUENCE_COPY, (uint32_t)  addressDigits[seqDigits[addressDigitIndex]], sizeof(SEQUENCE)) != QSPI_OK)
	  		Error_Handler();
	  HAL_DAC_Start_DMA(&hdac1, DAC_CHANNEL_1, (uint32_t*) SEQUENCE_COPY, SEQUENCE_LENGTH, DAC_ALIGN_12B_R);

	  HAL_UART_Receive_IT(&huart1, user_Digit_answer, NUMBER_OF_DIGITS+1);

  }
  /////////////////////////////////////////////////////////////

  if (start_yn[0] == '1'){
	  //you are a player (player 2)
	  //game mode 0 or game mode 1
	  memset(start_yn,0,CHOICE);
	  player = 1 ;
	  recorder = 0;
	  // send player message
	  HAL_UART_Transmit(&huart1, playerMessage, sizeof(playerMessage), 100);
	  HAL_UART_Transmit(&huart1, chooseModeMessage, sizeof(chooseModeMessage), 100);

	  HAL_UART_Receive_IT(&huart1, game_mode, CHOICE);
  }

/////////////////////// PLAYER Digit ////////////////////////
  if (game_mode[0] == '0'){
	  //you chose game mode 0 (Digits)
	  //get ready to hear the digits
	  strcpy(digit_answer,  digits);
	  seq = seqDigits;
	  directionGame = 0 ;
	  digitGame = 1;
	  memset(game_mode,0,CHOICE);
	  HAL_UART_Transmit(&huart1, waitForSpeakerDigitMessage, sizeof(waitForSpeakerDigitMessage), 100);

	  //send to HAL_DAC...once cmplt should ask user to start typing
//	  if(BSP_QSPI_Read((uint8_t *) SEQUENCE_COPY, (uint32_t)  addressDigits[seq[0]], sizeof(SEQUENCE)) != QSPI_OK)
//	  					Error_Handler();
//	  HAL_DAC_Start_DMA(&hdac1, DAC_CHANNEL_1, (uint32_t*) SEQUENCE_COPY, SEQUENCE_LENGTH, DAC_ALIGN_12B_R);

	  if(BSP_QSPI_Read((uint8_t *) SEQUENCE_COPY, (uint32_t)  addressDigits[seqDigits[addressDigitIndex]], sizeof(SEQUENCE)) != QSPI_OK)
	  		Error_Handler();
	  HAL_DAC_Start_DMA(&hdac1, DAC_CHANNEL_1, (uint32_t*) SEQUENCE_COPY, SEQUENCE_LENGTH, DAC_ALIGN_12B_R);

	  //HAL_UART_Transmit(&huart1, here, sizeof(here), 100);

	  HAL_UART_Receive_IT(&huart1, user_Digit_answer, NUMBER_OF_DIGITS+1);
  }

  //check the answer for digits
  if (user_Digit_answer[0] != '\000'){

	  res= strncmp(user_Digit_answer, digit_answer, NUMBER_OF_DIGITS);
	  if (res == 0){
		  HAL_UART_Transmit(&huart1, winMessage, sizeof(winMessage), 100);
	  }
	  else{
		  HAL_UART_Transmit(&huart1, lossMessage, sizeof(lossMessage), 100);
		  HAL_UART_Transmit(&huart1, digit_answer, sizeof(digit_answer), 100);
	  }
	  user_Digit_answer[0] = '\000';
  }

  ////////////////// PLATER Direction //////////////////////////////////////
  if (game_mode[0] == '1'){
	  //you chose game mode 1 (Directions)
	  //get ready to hear the seqDirections
	  memset(game_mode,0,2);
	  directionGame = 1;
	  digitGame = 0;
	  HAL_UART_Transmit(&huart1, waitForSpeakerDirectionMessage, sizeof(waitForSpeakerDirectionMessage), 100);
	  if(seqDirections[addressDirectionIndex] == 'X') {
	  		if(BSP_QSPI_Read((uint8_t *) SEQUENCE_COPY, (uint32_t)  addressDirections[1], sizeof(SEQUENCE)) != QSPI_OK)
	  			Error_Handler();
	  		HAL_DAC_Start_DMA(&hdac1, DAC_CHANNEL_1, (uint32_t*) SEQUENCE_COPY, SEQUENCE_LENGTH, DAC_ALIGN_12B_R);
	  }else if(seqDirections[addressDirectionIndex] == 'Y') {
	  		if(BSP_QSPI_Read((uint8_t *) SEQUENCE_COPY, (uint32_t)  addressDirections[3], sizeof(SEQUENCE)) != QSPI_OK)
	  			Error_Handler();
	  		HAL_DAC_Start_DMA(&hdac1, DAC_CHANNEL_1, (uint32_t*) SEQUENCE_COPY, SEQUENCE_LENGTH, DAC_ALIGN_12B_R);
	  }else if(seqDirections[addressDirectionIndex] == 'x') {
	  		if(BSP_QSPI_Read((uint8_t *) SEQUENCE_COPY, (uint32_t)  addressDirections[0], sizeof(SEQUENCE)) != QSPI_OK)
	  			Error_Handler();
	  		HAL_DAC_Start_DMA(&hdac1, DAC_CHANNEL_1, (uint32_t*) SEQUENCE_COPY, SEQUENCE_LENGTH, DAC_ALIGN_12B_R);
	  }else if(seqDirections[addressDirectionIndex] == 'y') {
	  		if(BSP_QSPI_Read((uint8_t *) SEQUENCE_COPY, (uint32_t)  addressDirections[2], sizeof(SEQUENCE)) != QSPI_OK)
	  			Error_Handler();
	  		HAL_DAC_Start_DMA(&hdac1, DAC_CHANNEL_1, (uint32_t*) SEQUENCE_COPY, SEQUENCE_LENGTH, DAC_ALIGN_12B_R);
	  }
  }
  ///// might not need this
  //check the answer for seqDirections
}

/* USER CODE END 4 */

void StartGetSpeedAndDir(void const * argument)
{
  /* USER CODE BEGIN 5 */
  /* Infinite loop */
  for(;;)
  {
    osDelay(1);
    if(counterRestart == 30) {
		for(int i = 0 ; i < arrayIndex; i ++) { //reinitializing arrays
			arrayX[i] = 0;
			arrayY[i] = 0;
		}
		if(maxX2 > maxY2) {
			if(maxX2 > 500) {
				directionResult[resultIndex] = 'X'; //fast horizontal
			} else {
				directionResult[resultIndex] = 'x'; //slow horizontal
			}
		} else {
			if(maxY2 > 500) {
				directionResult[resultIndex] = 'Y'; //fast vertical
			} else {
				directionResult[resultIndex] = 'y'; //slow vertical
			}
		}
		resultIndex++;
	    //ITM_Port32(31) = 7;
		arrayIndex = 0;
		startedMoving = 0;
		counterRestart = 0;
	  }
  }
  /* USER CODE END 5 */
}

void StartAcceleroSensor(void const * argument)
{
  /* USER CODE BEGIN StartAcceleroSensor */
  BSP_ACCELERO_Init();
  /* Infinite loop */
  for(;;)
  {
    osDelay(1);
    if(player && directionGame && !counterInitial) {
    	  osDelay(10000);
    	  ITM_Port32(31) = 1;
   		  BSP_ACCELERO_AccGetXYZ(accelerometer);
   		  acc_x1 = accelerometer[0];
   		  acc_y1 = accelerometer[1];
    	  ITM_Port32(31) = 2;

   		  counterInitial++;
   	  }
    if(player && directionGame && (resultIndex < NUMBER_OF_DIRECTION)) {
   		BSP_ACCELERO_AccGetXYZ(accelerometer);
   		if(accelerometer[0]- acc_x1  > MOVEMENT_THRESHOLD || accelerometer[1] - acc_y1 > MOVEMENT_THRESHOLD) {
//   		  if(!counterRestart) {
//   	    	ITM_Port32(31) = 5;
//   		  }
   		  arrayX[arrayIndex] = (float32_t) accelerometer[0];
   		  arrayY[arrayIndex] = (float32_t) accelerometer[1];
   		  arrayIndex++;
   		  arm_max_f32(&arrayX, (uint32_t) 2000,  &maxX2,  &maxIndexX);
   		  arm_max_f32(&arrayY, (uint32_t) 2000,  &maxY2,  &maxIndexY);
   		  startedMoving = 1;
   		}
   	  }
    if (resultIndex == NUMBER_OF_DIRECTION){
    	 res= strncmp(directionResult, seqDirections, NUMBER_OF_DIRECTION);
    	 if (res == 0){
    		  HAL_UART_Transmit(&huart1, winMessage, sizeof(winMessage), 100);
    	 }else{
    		  HAL_UART_Transmit(&huart1, lossMessage, sizeof(lossMessage), 100);
    		  HAL_UART_Transmit(&huart1, seqDirections, sizeof(seqDirections), 100);
    	 }
    	 resultIndex++;
    	 //directionResult[NUMBER_OF_DIRECTION] = '\000';
    }
  }
  /* USER CODE END StartAcceleroSensor */
}

/* USER CODE BEGIN Header_StartCounterDirGame */
/**
* @brief Function implementing the CounterDirGame thread.
*
* @param argument: Not used
* @retval None
*/
/* USER CODE END Header_StartCounterDirGame */
void StartCounterDirGame(void const * argument)
{
  /* USER CODE BEGIN StartCounterDirGame */
  /* Infinite loop */
  for(;;)
  {
    osDelay(1);
    if(startedMoving) {
    	osDelay(100);
    	counterRestart++;
    }
  }
  /* USER CODE END StartCounterDirGame */
}

void Error_Handler(void)
{
  /* USER CODE BEGIN Error_Handler_Debug */
  /* User can add his own implementation to report the HAL error return state */
//	HAL_GPIO_WritePin(redLED_GPIO_Port, redLED_Pin, GPIO_PIN_RESET);
	__BKPT();

  /* USER CODE END Error_Handler_Debug */
}
